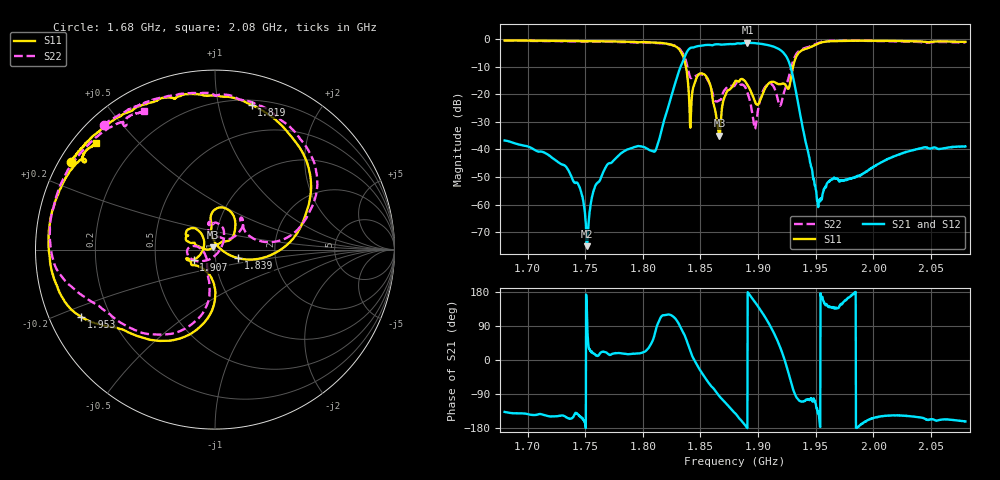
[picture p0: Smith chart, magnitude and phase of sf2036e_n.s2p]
# Hz S RI R 50
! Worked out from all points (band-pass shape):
!   1601 points, 1.68 GHz to 2.08 GHz, reference 50 ohm
!   highest |S21| = -1.37 dB at 1.891 GHz (marker M1); lowest = -75.0 dB at 1.752 GHz (marker M2)
!   |S21| within 3 dB of the highest: 1.839 GHz to 1.921 GHz (81.88 MHz wide, 4.36 % of centre)
!   lowest |S11| = -35.1 dB at 1.867 GHz (marker M3), VSWR 1.04, Z = 48.9 + j1.35 ohm
!   |S11| at or under -10 dB: 1.837 GHz to 1.93 GHz (93.01 MHz wide, 4.94 % of centre)
!   |S22| runs from -32.6 to -0.6 dB; largest |S21 - S12| = 0.0031
!   S11 on the Smith chart (normalised r, x): 1.68 GHz: 0.03, +0.28; 1.819 GHz: 0.24, +1.26; 1.839 GHz: 1.29, -0.12; 1.907 GHz: 0.78, -0.09; 1.953 GHz: 0.10, -0.24; 2.08 GHz: 0.07, +0.38
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1.68e9  -0.8011 0.4895  -0.0106 -0.00995  -0.0106 -0.00991  -0.6212 0.6938
1.732e9  -0.6597 0.6477  -0.00439 -0.00274  -0.00438 -0.00271  -0.4352 0.7984
1.74675e9  -0.6011 0.6976  -0.0014 -0.000737  -0.00143 -0.000765  -0.3659 0.8261
1.7515e9  -0.5777 0.7137  -9.06e-05 0.000153  -0.000105 0.000147  -0.3407 0.8369
1.75775e9  -0.5417 0.7363  0.00184 0.000529  0.00184 0.000548  -0.3035 0.8463
1.769e9  -0.4708 0.7707  0.00503 0.00162  0.00503 0.00163  -0.2332 0.8599
1.8135e9  0.0518 0.8515  -0.00215 0.0136  -0.00218 0.0135  0.2358 0.8078
1.81925e9  0.2036 0.8058  -0.0182 0.0336  -0.0183 0.0336  0.3475 0.7372
1.834e9  0.5031 0.1896  0.0712 0.3542  0.0715 0.3546  0.5343 0.2256
1.8395e9  0.1285 -0.0474  0.5013 0.3947  0.5022 0.3946  0.2631 0.045
1.85425e9  0.099 0.1968  0.5228 -0.575  0.5227 -0.5766  0.1566 0.1383
1.8665e9  -0.0111 0.0138  -0.0819 -0.795  -0.0816 -0.7959  0.00042 0.0779
1.88e9  -0.161 0.0534  -0.6231 -0.5182  -0.6239 -0.5179  -0.0377 0.1416
1.89075e9  -0.0983 0.1106  -0.854 -0.000524  -0.853 -0.00118  0.0504 0.0951
1.89725e9  -0.0599 0.0429  -0.7521 0.3775  -0.7526 0.3784  0.0189 -0.0139
1.9065e9  -0.1191 -0.0563  -0.2866 0.7382  -0.2862 0.7382  -0.1265 -0.0546
1.91925e9  -0.1362 -0.0673  0.5307 0.3481  0.5308 0.3484  -0.0544 -0.0305
1.92675e9  -0.0513 -0.1189  0.3041 -0.2384  0.3031 -0.239  -0.0307 -0.205
1.94675e9  -0.5917 -0.4293  -0.00102 -0.00431  -0.00105 -0.00427  -0.7082 -0.2769
1.95275e9  -0.7438 -0.3759  -0.000895 -0.000694  -0.000892 -0.000694  -0.8399 -0.168
2.0135e9  -0.8485 0.3689  -0.00579 -0.00373  -0.00575 -0.00372  -0.6634 0.6255
2.08e9  -0.6609 0.5945  -0.0108 -0.00348  -0.0108 -0.00349  -0.3947 0.7703
